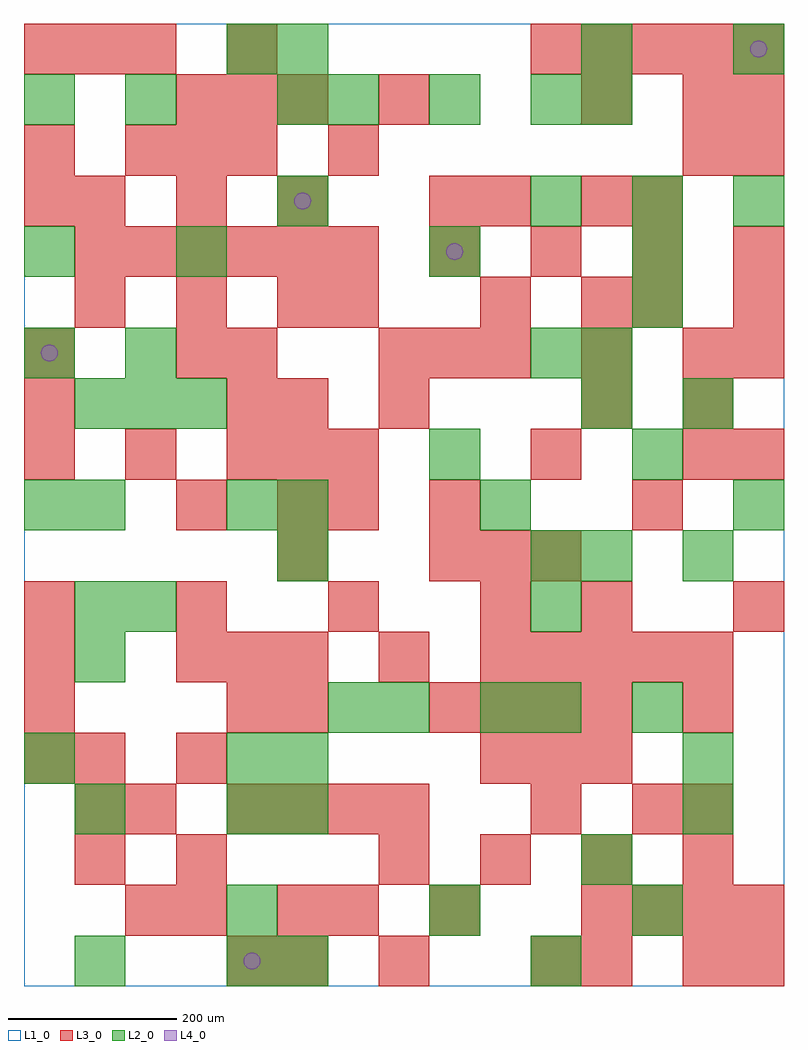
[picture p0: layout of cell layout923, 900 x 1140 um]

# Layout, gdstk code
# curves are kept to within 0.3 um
import gdstk
lib = gdstk.Library(unit=1e-6, precision=1e-09)
def R(c, l, rs):  # rectangles x0, y0, x1, y1
    for r in rs: c.add(gdstk.rectangle(r[:2], r[2:], *l))
def A(c, l, x, y, w, h, nx, ny, dx, dy):  # array of equal rectangles
    R(c, l, [(x+i*dx, y+j*dy, x+i*dx+w, y+j*dy+h) for i in range(nx) for j in range(ny)])
def P(c, l, *ps):  # polygons
    for p in ps: c.add(gdstk.Polygon(p, *l))
L1_0 = (1, 0)
L2_0 = (2, 0)
L3_0 = (3, 0)
L4_0 = (4, 0)

layout923 = lib.new_cell('layout923')
R(layout923, L1_0, [(0,0,900,1140)])
A(layout923, L2_0, 60, 0, 60, 60, 1, 3, 0, 180)
A(layout923, L2_0, 240, 60, 60, 60, 3, 1, 240, 0)
A(layout923, L2_0, 120, 420, 60, 60, 1, 3, 0, 300)
A(layout923, L2_0, 60, 660, 60, 60, 3, 1, 60, 0)
A(layout923, L2_0, 600, 900, 60, 60, 3, 1, 120, 0)
A(layout923, L2_0, 360, 1020, 60, 60, 3, 1, 120, 0)
R(layout923, L2_0, [(240,0,300,60), (300,0,360,60), (600,0,660,60), (660,120,720,180), (240,180,300,240), (300,180,360,240), (780,180,840,240), (0,240,60,300), (240,240,300,300), (300,240,360,300), (780,240,840,300), (360,300,420,360), (420,300,480,360), (540,300,600,360), (600,300,660,360), (720,300,780,360), (60,420,120,480), (600,420,660,480), (300,480,360,540), (600,480,660,540), (660,480,720,540), (780,480,840,540), (0,540,60,600), (60,540,120,600), (240,540,300,600), (300,540,360,600), (540,540,600,600), (840,540,900,600), (480,600,540,660), (720,600,780,660), (660,660,720,720), (780,660,840,720), (0,720,60,780), (600,720,660,780), (660,720,720,780), (720,780,780,840), (0,840,60,900), (180,840,240,900), (480,840,540,900), (720,840,780,900), (300,900,360,960), (0,1020,60,1080), (300,1020,360,1080), (660,1020,720,1080), (240,1080,300,1140), (300,1080,360,1140), (660,1080,720,1140), (840,1080,900,1140)])
A(layout923, L3_0, 660, 60, 60, 60, 4, 1, 60, 0)
A(layout923, L3_0, 60, 120, 60, 60, 1, 3, 0, 60)
A(layout923, L3_0, 420, 120, 60, 60, 4, 1, 120, 0)
A(layout923, L3_0, 240, 180, 60, 60, 4, 1, 60, 0)
A(layout923, L3_0, 0, 240, 60, 60, 1, 3, 0, 60)
A(layout923, L3_0, 540, 240, 60, 60, 3, 1, 60, 0)
A(layout923, L3_0, 480, 300, 60, 60, 4, 1, 60, 0)
A(layout923, L3_0, 180, 360, 60, 60, 3, 2, 60, 660)
A(layout923, L3_0, 540, 360, 60, 60, 5, 1, 60, 0)
A(layout923, L3_0, 0, 420, 60, 60, 4, 1, 180, 0)
A(layout923, L3_0, 300, 480, 60, 60, 1, 4, 0, 60)
A(layout923, L3_0, 480, 480, 60, 60, 3, 1, 60, 0)
A(layout923, L3_0, 0, 600, 60, 60, 3, 1, 120, 0)
A(layout923, L3_0, 360, 600, 60, 60, 1, 3, 0, 180)
A(layout923, L3_0, 780, 600, 60, 60, 1, 3, 0, 60)
A(layout923, L3_0, 660, 660, 60, 60, 1, 3, 0, 60)
A(layout923, L3_0, 420, 720, 60, 60, 3, 1, 60, 0)
A(layout923, L3_0, 60, 780, 60, 60, 3, 2, 120, 120)
A(layout923, L3_0, 60, 840, 60, 60, 6, 1, 60, 0)
A(layout923, L3_0, 480, 840, 60, 60, 4, 1, 120, 0)
A(layout923, L3_0, 120, 960, 60, 60, 3, 1, 60, 0)
A(layout923, L3_0, 0, 1080, 60, 60, 3, 1, 60, 0)
A(layout923, L3_0, 600, 1080, 60, 60, 5, 1, 60, 0)
R(layout923, L3_0, [(240,0,300,60), (300,0,360,60), (420,0,480,60), (600,0,660,60), (660,0,720,60), (780,0,840,60), (840,0,900,60), (120,60,180,120), (180,60,240,120), (300,60,360,120), (360,60,420,120), (480,60,540,120), (180,120,240,180), (120,180,180,240), (600,180,660,240), (720,180,780,240), (780,180,840,240), (180,240,240,300), (240,300,300,360), (300,300,360,360), (780,300,840,360), (420,360,480,420), (660,420,720,480), (840,420,900,480), (180,540,240,600), (360,540,420,600), (480,540,540,600), (720,540,780,600), (600,600,660,660), (840,600,900,660), (0,660,60,720), (240,660,300,720), (420,660,480,720), (0,720,60,780), (180,720,240,780), (240,720,300,780), (840,720,900,780), (540,780,600,840), (720,780,780,840), (840,780,900,840), (0,900,60,960), (480,900,540,960), (540,900,600,960), (660,900,720,960), (720,900,780,960), (0,960,60,1020), (780,960,840,1020), (840,960,900,1020), (420,1020,480,1080), (660,1020,720,1080), (780,1020,840,1080), (840,1020,900,1080), (240,1080,300,1140)])
P(layout923, L4_0, [(40,750),(39.239,753.827),(37.071,757.071),(33.827,759.239),(30,760),(26.173,759.239),(22.929,757.071),(20.761,753.827),(20,750),(20.761,746.173),(22.929,742.929),(26.173,740.761),(30,740),(33.827,740.761),(37.071,742.929),(39.239,746.173)],
  [(280,30),(279.239,33.827),(277.071,37.071),(273.827,39.239),(270,40),(266.173,39.239),(262.929,37.071),(260.761,33.827),(260,30),(260.761,26.173),(262.929,22.929),(266.173,20.761),(270,20),(273.827,20.761),(277.071,22.929),(279.239,26.173)],
  [(340,930),(339.239,933.827),(337.071,937.071),(333.827,939.239),(330,940),(326.173,939.239),(322.929,937.071),(320.761,933.827),(320,930),(320.761,926.173),(322.929,922.929),(326.173,920.761),(330,920),(333.827,920.761),(337.071,922.929),(339.239,926.173)],
  [(520,870),(519.239,873.827),(517.071,877.071),(513.827,879.239),(510,880),(506.173,879.239),(502.929,877.071),(500.761,873.827),(500,870),(500.761,866.173),(502.929,862.929),(506.173,860.761),(510,860),(513.827,860.761),(517.071,862.929),(519.239,866.173)],
  [(880,1110),(879.239,1113.827),(877.071,1117.071),(873.827,1119.239),(870,1120),(866.173,1119.239),(862.929,1117.071),(860.761,1113.827),(860,1110),(860.761,1106.173),(862.929,1102.929),(866.173,1100.761),(870,1100),(873.827,1100.761),(877.071,1102.929),(879.239,1106.173)])

lib.write_gds('layout923.gds')
